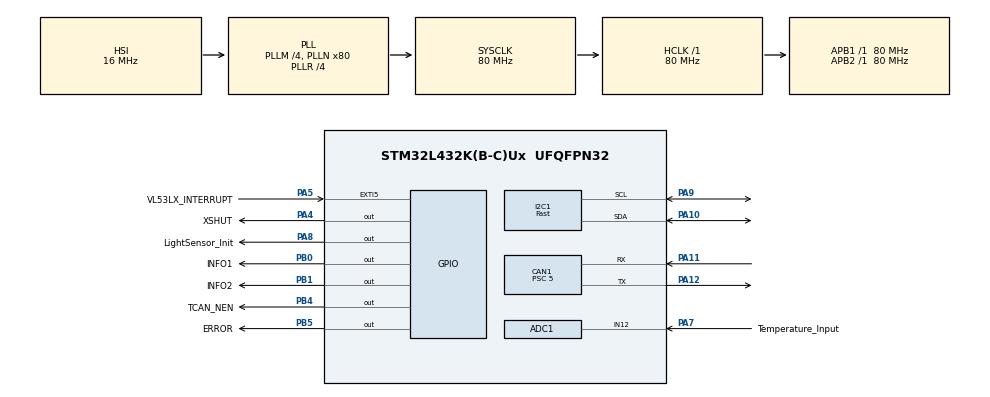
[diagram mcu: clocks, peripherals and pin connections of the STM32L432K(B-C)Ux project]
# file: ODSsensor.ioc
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ADC1.Channel-0\#ChannelRegularConversion=ADC_CHANNEL_12
ADC1.ClockPrescaler=ADC_CLOCK_ASYNC_DIV32
ADC1.ContinuousConvMode=DISABLE
ADC1.DMAContinuousRequests=DISABLE
ADC1.DataAlign=ADC_DATAALIGN_RIGHT
ADC1.DiscontinuousConvMode=DISABLE
ADC1.EOCSelection=ADC_EOC_SINGLE_CONV
ADC1.EnableAnalogWatchDog1=false
ADC1.EnableAnalogWatchDog2=false
ADC1.EnableAnalogWatchDog3=false
ADC1.EnableInjectedConversion=DISABLE
ADC1.EnableRegularConversion=ENABLE
ADC1.ExternalTrigConv=ADC_SOFTWARE_START
ADC1.ExternalTrigConvEdge=ADC_EXTERNALTRIGCONVEDGE_NONE
ADC1.LowPowerAutoWait=DISABLE
ADC1.NbrOfConversion=1
ADC1.NbrOfConversionFlag=1
ADC1.OffsetNumber-0\#ChannelRegularConversion=ADC_OFFSET_NONE
ADC1.Overrun=ADC_OVR_DATA_PRESERVED
ADC1.OversamplingMode=DISABLE
ADC1.Rank-0\#ChannelRegularConversion=1
ADC1.Resolution=ADC_RESOLUTION_12B
ADC1.SamplingTime-0\#ChannelRegularConversion=ADC_SAMPLETIME_92CYCLES_5
ADC1.ScanConvMode=ADC_SCAN_DISABLE
ADC1.master=1
CAN1.BS1=CAN_BS1_13TQ
CAN1.BS2=CAN_BS2_2TQ
CAN1.CalculateTimeQuantum=62.5
CAN1.Prescaler=5
I2C1.I2C_Speed_Mode=I2C_Fast
I2C1.Timing=0x00702991
Mcu.Family=STM32L4
Mcu.Name=STM32L432K(B-C)Ux
Mcu.Package=UFQFPN32
NVIC.CAN1_RX0_IRQn=true\:0\:0\:false\:false\:true\:true
NVIC.EXTI9_5_IRQn=true\:0\:0\:false\:false\:true\:true
NVIC.PVD_PVM_IRQn=true\:0\:0\:false\:false\:true\:true
NVIC.PriorityGroup=NVIC_PRIORITYGROUP_4
NVIC.TIM1_BRK_TIM15_IRQn=true\:0\:0\:false\:false\:true\:true
NVIC.TIM1_UP_TIM16_IRQn=true\:0\:0\:false\:false\:true\:true
NVIC.TIM2_IRQn=true\:0\:0\:false\:false\:true\:true
NVIC.TIM6_DAC_IRQn=true\:0\:0\:false\:false\:true\:false
NVIC.TIM7_IRQn=true\:0\:0\:false\:false\:true\:true
NVIC.TimeBase=TIM6_DAC_IRQn
NVIC.TimeBaseIP=TIM6
PA10.Mode=I2C
PA10.Signal=I2C1_SDA
PA11.Mode=Master
PA11.Signal=CAN1_RX
PA12.Mode=Master
PA12.Signal=CAN1_TX
PA4.GPIO_Label=XSHUT
PA4.Signal=GPIO_Output
PA5.GPIO_Label=VL53LX_INTERRUPT
PA5.GPIO_ModeDefaultEXTI=GPIO_MODE_IT_FALLING
PA5.Signal=GPXTI5
PA7.GPIO_Label=Temperature_Input
PA7.Signal=ADCx_IN12
PA8.GPIO_Label=LightSensor_Init
PA8.Signal=GPIO_Output
PA9.Mode=I2C
PA9.Signal=I2C1_SCL
PB0.GPIO_Label=INFO1
PB0.Signal=GPIO_Output
PB1.GPIO_Label=INFO2
PB1.Signal=GPIO_Output
PB4\ (NJTRST).GPIO_Label=TCAN_NEN
PB4\ (NJTRST).Signal=GPIO_Output
PB5.GPIO_Label=ERROR
PB5.Signal=GPIO_Output
ProjectManager.HeapSize=0x200
ProjectManager.StackSize=0x400
ProjectManager.TargetToolchain=TrueSTUDIO
RCC.ADCFreq_Value=32000000
RCC.AHBFreq_Value=80000000
RCC.APB1Freq_Value=80000000
RCC.APB1TimFreq_Value=80000000
RCC.APB2Freq_Value=80000000
RCC.APB2TimFreq_Value=80000000
RCC.CortexFreq_Value=80000000
RCC.HCLKFreq_Value=80000000
RCC.HSE_VALUE=8000000
RCC.HSI48_VALUE=48000000
RCC.HSI_VALUE=16000000
RCC.LSE_VALUE=32768
RCC.MSI_VALUE=4000000
RCC.PLLM=4
RCC.PLLN=80
RCC.PLLR=RCC_PLLR_DIV4
RCC.PLLSAI1N=16
RCC.PLLSourceVirtual=RCC_PLLSOURCE_HSI
RCC.SYSCLKFreq_VALUE=80000000
RCC.SYSCLKSource=RCC_SYSCLKSOURCE_PLLCLK
RCC.USBFreq_Value=32000000
RCC.VCOOutputFreq_Value=320000000
SH.ADCx_IN12.0=ADC1_IN12,IN12-Single-Ended
TIM15.AutoReloadPreload=TIM_AUTORELOAD_PRELOAD_ENABLE
TIM15.Period=3999
TIM15.Prescaler=9999
TIM16.AutoReloadPreload=TIM_AUTORELOAD_PRELOAD_ENABLE
TIM16.Period=149
TIM16.Prescaler=79
TIM2.Period=624
TIM2.Prescaler=999
TIM7.AutoReloadPreload=TIM_AUTORELOAD_PRELOAD_ENABLE
TIM7.Period=1999
TIM7.Prescaler=39999
VP_SYS_VS_tim6.Mode=TIM6
VP_TIM15_VS_ClockSourceINT.Mode=Internal
VP_TIM16_VS_ClockSourceINT.Mode=Enable_Timer
VP_TIM2_VS_ClockSourceINT.Mode=Internal
VP_TIM7_VS_ClockSourceINT.Mode=Enable_Timer
board=custom

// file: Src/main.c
/**
  ******************************************************************************
  * @file           : main.c
  * @brief          : Main program body
  ******************************************************************************
  ** This notice applies to any and all portions of this file
  * that are not between comment pairs USER CODE BEGIN and
  * USER CODE END. Other portions of this file, whether
  * inserted by the user or by software development tools
  * are owned by their respective copyright owners.
  *
  * COPYRIGHT(c) 2018 STMicroelectronics
  *
  * Redistribution and use in source and binary forms, with or without modification,
  * are permitted provided that the following conditions are met:
  *   1. Redistributions of source code must retain the above copyright notice,
  *      this list of conditions and the following disclaimer.
  *   2. Redistributions in binary form must reproduce the above copyright notice,
  *      this list of conditions and the following disclaimer in the documentation
  *      and/or other materials provided with the distribution.
  *   3. Neither the name of STMicroelectronics nor the names of its contributors
  *      may be used to endorse or promote products derived from this software
  *      without specific prior written permission.
  *
  * THIS SOFTWARE IS PROVIDED BY THE COPYRIGHT HOLDERS AND CONTRIBUTORS "AS IS"
  * AND ANY EXPRESS OR IMPLIED WARRANTIES, INCLUDING, BUT NOT LIMITED TO, THE
  * IMPLIED WARRANTIES OF MERCHANTABILITY AND FITNESS FOR A PARTICULAR PURPOSE ARE
  * DISCLAIMED. IN NO EVENT SHALL THE COPYRIGHT HOLDER OR CONTRIBUTORS BE LIABLE
  * FOR ANY DIRECT, INDIRECT, INCIDENTAL, SPECIAL, EXEMPLARY, OR CONSEQUENTIAL
  * DAMAGES (INCLUDING, BUT NOT LIMITED TO, PROCUREMENT OF SUBSTITUTE GOODS OR
  * SERVICES; LOSS OF USE, DATA, OR PROFITS; OR BUSINESS INTERRUPTION) HOWEVER
  * CAUSED AND ON ANY THEORY OF LIABILITY, WHETHER IN CONTRACT, STRICT LIABILITY,
  * OR TORT (INCLUDING NEGLIGENCE OR OTHERWISE) ARISING IN ANY WAY OUT OF THE USE
  * OF THIS SOFTWARE, EVEN IF ADVISED OF THE POSSIBILITY OF SUCH DAMAGE.
  *
  ******************************************************************************
  */
#include "main.h"
#include "stm32l4xx_hal.h"
#include "adc.h"
#include "can.h"
#include "i2c.h"
#include "tim.h"
#include "gpio.h"

/* USER CODE BEGIN Includes */

#include "max44009edt.h"
#include "gpio.h"
#include "init_functions.h"
#include "structures.h"
#include "flash.h"
#include "general_functions.h"
#include "errorFlags.h"

#if vl53lx
#include "vl53l1_functions.h"
#include "vl53l1_api.h"
#else
#include "vl53l0_functions.h"
#include "vl53l0x_api.h"
#endif
/* USER CODE END Includes */

/* USER CODE BEGIN PV */
/* Private variables ---------------------------------------------------------*/

// board data structure
volatile typ_DataToSend							boardData;

//can variables
extern CAN_RxHeaderTypeDef rFrame;
extern CAN_TxMailBox_TypeDef mailbox;
extern volatile uint8_t rFrameData[8];
volatile typ_CANTxBuffer CANTxBuffer;

//Peripheral variables
extern CAN_HandleTypeDef hcan1;
extern TIM_HandleTypeDef htim7;

#if vl53lx
//vl53l1x variables

#else
//vl53l init variable
extern struct typ_VL53L0_InitData initData;
#endif

/* USER CODE END PV */

void SystemClock_Config(void);

/* USER CODE BEGIN PFP */
/* Private function prototypes -----------------------------------------------*/

/* USER CODE END PFP */

int main(void)
{

  /* MCU Configuration----------------------------------------------------------*/

  /* Reset of all peripherals, Initializes the Flash interface and the Systick. */
  HAL_Init();

  /* USER CODE BEGIN Init */
 // __HAL_GPIO_EXTI_CLEAR_IT(0x32);
  /* USER CODE END Init */

  /* Configure the system clock */
  SystemClock_Config();

  /* Initialize all configured peripherals */
  MX_GPIO_Init();
  MX_CAN1_Init();
  MX_I2C1_Init();
  MX_ADC1_Init();
  MX_TIM16_Init();
  MX_TIM7_Init();
  MX_TIM15_Init();
  MX_TIM2_Init();
  /* USER CODE BEGIN 2 */
  boardData.isInitDone=0;  // info for ODSinit functions
  HAL_GPIO_WritePin(INFO1_GPIO_Port,INFO1_Pin|INFO2_Pin|ERROR_Pin,SET); // show start of board initialization
  HAL_Delay(500); // wait until ODSmain initialization finished
  //clear board data structure
  ClearDataToSend(&boardData);
  SetBits(boardData.errorFlag,ODSSENSOR_ERROR_ID); // ODS id is not granted yet, peripherals aren't initialized
  //can initialization
  CAN_SetFilter();
  CAN_FramesInit();
  HAL_GPIO_WritePin(TCAN_NEN_GPIO_Port,TCAN_NEN_Pin,RESET); // Transceiver energy saving pin
  HAL_CAN_Start(&hcan1);
  HAL_CAN_ActivateNotification(&hcan1,CAN_IT_RX_FIFO0_MSG_PENDING);
  //max 44009edt initialization
  max44009edt_Init();

  //start measuring lux and temp
  HAL_TIM_Base_Start_IT(&htim7);
  FirstTemp();
  //FLASH_ClearDataVL53LxData();

  //vl53lx initialization
    #if vl53lx
    VL53L1_Init();
    #else
  	VL53L0_Init();
    #endif
  //FLASH_ClearDataVL53LxData();   // only on the first system start
  HAL_GPIO_WritePin(INFO1_GPIO_Port,INFO1_Pin|INFO2_Pin|ERROR_Pin,RESET); // show end of board initialization

  //send initial CAN frame
  SendDeviceSerailID();

  boardData.isInitDone=1;  // info for ODSinit functions
  //start vl53l0 distance read
	#if vl53lx

  #else
  VL53L0_SetupContinousRanging();
  #endif

  /* USER CODE END 2 */

  /* Infinite loop */
  while (1)
  {

  }

}

void SystemClock_Config(void)
{

  RCC_OscInitTypeDef RCC_OscInitStruct;
  RCC_ClkInitTypeDef RCC_ClkInitStruct;
  RCC_PeriphCLKInitTypeDef PeriphClkInit;

    /**Initializes the CPU, AHB and APB busses clocks
    */
  RCC_OscInitStruct.OscillatorType = RCC_OSCILLATORTYPE_HSI;
  RCC_OscInitStruct.HSIState = RCC_HSI_ON;
  RCC_OscInitStruct.HSICalibrationValue = 16;
  RCC_OscInitStruct.PLL.PLLState = RCC_PLL_ON;
  RCC_OscInitStruct.PLL.PLLSource = RCC_PLLSOURCE_HSI;
  RCC_OscInitStruct.PLL.PLLM = 4;
  RCC_OscInitStruct.PLL.PLLN = 80;
  RCC_OscInitStruct.PLL.PLLP = RCC_PLLP_DIV7;
  RCC_OscInitStruct.PLL.PLLQ = RCC_PLLQ_DIV2;
  RCC_OscInitStruct.PLL.PLLR = RCC_PLLR_DIV4;
  if (HAL_RCC_OscConfig(&RCC_OscInitStruct) != HAL_OK)
  {
    _Error_Handler(__FILE__, __LINE__);
  }

    /**Initializes the CPU, AHB and APB busses clocks
    */
  RCC_ClkInitStruct.ClockType = RCC_CLOCKTYPE_HCLK|RCC_CLOCKTYPE_SYSCLK
                              |RCC_CLOCKTYPE_PCLK1|RCC_CLOCKTYPE_PCLK2;
  RCC_ClkInitStruct.SYSCLKSource = RCC_SYSCLKSOURCE_PLLCLK;
  RCC_ClkInitStruct.AHBCLKDivider = RCC_SYSCLK_DIV1;
  RCC_ClkInitStruct.APB1CLKDivider = RCC_HCLK_DIV1;
  RCC_ClkInitStruct.APB2CLKDivider = RCC_HCLK_DIV1;

  if (HAL_RCC_ClockConfig(&RCC_ClkInitStruct, FLASH_LATENCY_4) != HAL_OK)
  {
    _Error_Handler(__FILE__, __LINE__);
  }

  PeriphClkInit.PeriphClockSelection = RCC_PERIPHCLK_I2C1|RCC_PERIPHCLK_ADC;
  PeriphClkInit.I2c1ClockSelection = RCC_I2C1CLKSOURCE_PCLK1;
  PeriphClkInit.AdcClockSelection = RCC_ADCCLKSOURCE_PLLSAI1;
  PeriphClkInit.PLLSAI1.PLLSAI1Source = RCC_PLLSOURCE_HSI;
  PeriphClkInit.PLLSAI1.PLLSAI1M = 4;
  PeriphClkInit.PLLSAI1.PLLSAI1N = 16;
  PeriphClkInit.PLLSAI1.PLLSAI1P = RCC_PLLP_DIV7;
  PeriphClkInit.PLLSAI1.PLLSAI1Q = RCC_PLLQ_DIV2;
  PeriphClkInit.PLLSAI1.PLLSAI1R = RCC_PLLR_DIV2;
  PeriphClkInit.PLLSAI1.PLLSAI1ClockOut = RCC_PLLSAI1_ADC1CLK;
  if (HAL_RCCEx_PeriphCLKConfig(&PeriphClkInit) != HAL_OK)
  {
    _Error_Handler(__FILE__, __LINE__);
  }

    /**Configure the main internal regulator output voltage
    */
  if (HAL_PWREx_ControlVoltageScaling(PWR_REGULATOR_VOLTAGE_SCALE1) != HAL_OK)
  {
    _Error_Handler(__FILE__, __LINE__);
  }

    /**Configure the Systick interrupt time
    */
  HAL_SYSTICK_Config(HAL_RCC_GetHCLKFreq()/1000);

    /**Configure the Systick
    */
  HAL_SYSTICK_CLKSourceConfig(SYSTICK_CLKSOURCE_HCLK);

  /* SysTick_IRQn interrupt configuration */
  HAL_NVIC_SetPriority(SysTick_IRQn, 0, 0);
}

void HAL_TIM_PeriodElapsedCallback(TIM_HandleTypeDef *htim)
{
  if (htim->Instance == TIM6) {
    HAL_IncTick();
  }
}

void _Error_Handler(char *file, int line)
{
  while(1)
  {
  }
}

/************************ (C) COPYRIGHT STMicroelectronics *****END OF FILE****/
